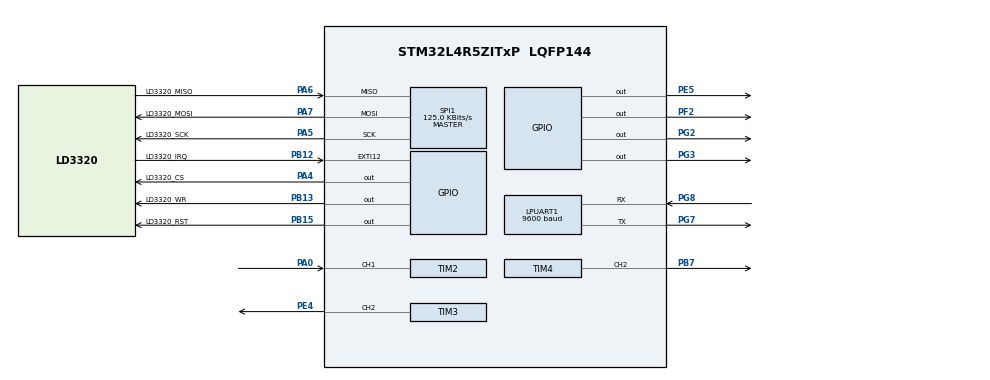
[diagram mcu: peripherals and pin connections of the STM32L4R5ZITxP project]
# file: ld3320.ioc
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LPUART1.BaudRate=9600
LPUART1.WordLength=UART_WORDLENGTH_8B
Mcu.Family=STM32L4
Mcu.Name=STM32L4R5ZITxP
Mcu.Package=LQFP144
NVIC.EXTI15_10_IRQn=true\:3\:0\:true\:false\:true\:true\:true\:true
NVIC.PriorityGroup=NVIC_PRIORITYGROUP_4
NVIC.TIM2_IRQn=true\:0\:0\:false\:false\:true\:true\:true\:true
PA0.Signal=S_TIM2_CH1
PA1.Signal=ADCx_IN6
PA10.Signal=USB_OTG_FS_ID
PA13\ (JTMS/SWDIO).Signal=SYS_JTMS-SWDIO
PA14\ (JTCK/SWCLK).Signal=SYS_JTCK-SWCLK
PA2.Signal=S_TIM5_CH3
PA3.Signal=ADCx_IN8
PA4.GPIO_Label=LD3320_CS
PA4.GPIO_Speed=GPIO_SPEED_FREQ_HIGH
PA4.PinState=GPIO_PIN_SET
PA4.Signal=GPIO_Output
PA5.GPIO_Label=LD3320_SCK
PA5.Mode=Full_Duplex_Master
PA5.Signal=SPI1_SCK
PA6.GPIO_Label=LD3320_MISO
PA6.Mode=Full_Duplex_Master
PA6.Signal=SPI1_MISO
PA7.GPIO_Label=LD3320_MOSI
PA7.Mode=Full_Duplex_Master
PA7.Signal=SPI1_MOSI
PA8.Signal=USB_OTG_FS_SOF
PA9.Signal=USB_OTG_FS_VBUS
PB0.Signal=S_TIM3_CH3
PB1.Signal=ADCx_IN16
PB10.Signal=S_TIM2_CH3
PB12.GPIO_Label=LD3320_IRQ
PB12.GPIO_ModeDefaultEXTI=GPIO_MODE_IT_FALLING
PB12.Signal=GPXTI12
PB13.GPIO_Label=LD3320_WR
PB13.GPIO_Speed=GPIO_SPEED_FREQ_HIGH
PB13.PinState=GPIO_PIN_RESET
PB13.Signal=GPIO_Output
PB15.GPIO_Label=LD3320_RST
PB15.GPIO_Speed=GPIO_SPEED_FREQ_HIGH
PB15.Signal=GPIO_Output
PB2.Signal=COMP1_INP
PB3\ (JTDO/TRACESWO).Signal=SPI3_SCK
PB4\ (NJTRST).Signal=SPI3_MISO
PB5.Signal=SPI3_MOSI
PB6.Signal=COMP2_INP
PB7.Signal=S_TIM4_CH2
PB8.Signal=I2C1_SCL
PB9.Signal=I2C1_SDA
PC0.Signal=ADCx_IN1
PC1.Signal=ADCx_IN2
PC10.Signal=SDMMC1_D2
PC11.Signal=SDMMC1_D3
PC12.Signal=SDMMC1_CK
PC13.Signal=SYS_WKUP2
PC14-OSC32_IN\ (PC14).Signal=RCC_OSC32_IN
PC15-OSC32_OUT\ (PC15).Signal=RCC_OSC32_OUT
PC2.Signal=ADCx_IN3
PC3.Signal=ADCx_IN4
PC4.Signal=ADCx_IN13
PC5.Signal=ADCx_IN14
PC6.Signal=SAI2_MCLK_A
PC8.Signal=SDMMC1_D0
PC9.Signal=SDMMC1_D1
PD0.Signal=CAN1_RX
PD14.Signal=S_TIM4_CH3
PD15.Signal=S_TIM4_CH4
PD2.Signal=SDMMC1_CMD
PD3.Signal=USART2_CTS
PD4.Signal=USART2_RTS
PD5.Signal=USART2_TX
PD6.Signal=USART2_RX
PD8.Signal=USART3_TX
PD9.Signal=USART3_RX
PE0.Signal=S_TIM4_ETR
PE10.Signal=TIM1_CH2N
PE11.Signal=S_TIM1_CH2
PE12.Signal=TIM1_CH3N
PE13.Signal=S_TIM1_CH3
PE14.Signal=TIM1_BKIN2
PE15.Signal=TIM1_BKIN
PE2.Signal=SAI1_MCLK_A
PE3.Signal=SAI1_SD_B
PE4.Signal=S_TIM3_CH2
PE5.GPIO_Speed=GPIO_SPEED_FREQ_LOW
PE5.Signal=GPIO_Output
PE7.Signal=S_TIM1_ETR
PE8.Signal=TIM1_CH1N
PE9.Signal=S_TIM1_CH1
PF0.Signal=I2C2_SDA
PF1.Signal=I2C2_SCL
PF2.Signal=GPIO_Output
PF7.Signal=SAI1_MCLK_B
PF9.Signal=S_TIM5_CH4
PG2.Signal=GPIO_Output
PG3.Signal=GPIO_Output
PG7.Mode=Asynchronous
PG7.Signal=LPUART1_TX
PG8.Mode=Asynchronous
PG8.Signal=LPUART1_RX
PH0-OSC_IN\ (PH0).Signal=RCC_OSC_IN
PH1-OSC_OUT\ (PH1).Signal=RCC_OSC_OUT
ProjectManager.HeapSize=0x200
ProjectManager.StackSize=0x400
ProjectManager.TargetToolchain=STM32CubeIDE
RCC.HSE_VALUE=8000000
RCC.HSI48_VALUE=48000000
RCC.HSI_VALUE=16000000
RCC.LSE_VALUE=32768
RCC.MSI_VALUE=4000000
RCC.VCOOutputFreq_Value=32000000
SH.ADCx_IN1.0=ADC1_IN1
SH.ADCx_IN13.0=ADC1_IN13
SH.ADCx_IN14.0=ADC1_IN14
SH.ADCx_IN16.0=ADC1_IN16
SH.ADCx_IN2.0=ADC1_IN2
SH.ADCx_IN3.0=ADC1_IN3
SH.ADCx_IN4.0=ADC1_IN4
SH.ADCx_IN6.0=ADC1_IN6
SH.ADCx_IN8.0=ADC1_IN8
SH.S_TIM1_CH1.0=TIM1_CH1
SH.S_TIM1_CH2.0=TIM1_CH2
SH.S_TIM1_CH3.0=TIM1_CH3
SH.S_TIM1_ETR.0=TIM1_ETR
SH.S_TIM2_CH1.0=TIM2_CH1,Input_Capture1_from_TI1
SH.S_TIM2_CH3.0=TIM2_CH3
SH.S_TIM3_CH2.0=TIM3_CH2,PWM Generation2 CH2
SH.S_TIM3_CH3.0=TIM3_CH3
SH.S_TIM4_CH2.0=TIM4_CH2,PWM Generation2 CH2
SH.S_TIM4_CH3.0=TIM4_CH3
SH.S_TIM4_CH4.0=TIM4_CH4
SH.S_TIM4_ETR.0=TIM4_ETR
SH.S_TIM5_CH3.0=TIM5_CH3
SH.S_TIM5_CH4.0=TIM5_CH4
SPI1.BaudRatePrescaler=SPI_BAUDRATEPRESCALER_32
SPI1.CLKPolarity=SPI_POLARITY_HIGH
SPI1.CRCCalculation=SPI_CRCCALCULATION_DISABLE
SPI1.CalculateBaudRate=125.0 KBits/s
SPI1.DataSize=SPI_DATASIZE_8BIT
SPI1.Direction=SPI_DIRECTION_2LINES
SPI1.Mode=SPI_MODE_MASTER
SPI1.NSSPMode=SPI_NSS_PULSE_ENABLE
SPI1.VirtualType=VM_MASTER
TIM2.Channel-Input_Capture1_from_TI1=TIM_CHANNEL_1
TIM2.Prescaler=3
TIM3.Channel-PWM\ Generation2\ CH2=TIM_CHANNEL_2
TIM3.Period=3999
TIM3.Prescaler=39
TIM3.Pulse-PWM\ Generation2\ CH2=60
TIM4.Channel-PWM\ Generation2\ CH2=TIM_CHANNEL_2
TIM4.Period=3999
TIM4.Prescaler=39
TIM4.Pulse-PWM\ Generation2\ CH2=60
VP_TIM2_VS_ClockSourceINT.Mode=Internal
VP_TIM3_VS_ClockSourceINT.Mode=Internal
VP_TIM4_VS_ClockSourceINT.Mode=Internal
board=NUCLEO-L4R5ZI-P

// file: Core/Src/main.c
/* USER CODE BEGIN Header */
/**
  ******************************************************************************
  * @file           : main.c
  * @brief          : Main program body
  ******************************************************************************
  * @attention
  *
  * Copyright (c) 2023 STMicroelectronics.
  * All rights reserved.
  *
  * This software is licensed under terms that can be found in the LICENSE file
  * in the root directory of this software component.
  * If no LICENSE file comes with this software, it is provided AS-IS.
  *
  ******************************************************************************
  */
/* USER CODE END Header */
#include "main.h"

/* USER CODE BEGIN Includes */
#include "stdio.h"
#include "motor.h"
///用户修改
/* USER CODE END Includes */

/* USER CODE BEGIN PD */
#define TIM3_ADDR 0x40000400
#define TIM_CCR2_OFFSET 0x38

/* USER CODE END PD */

UART_HandleTypeDef hlpuart1;

SPI_HandleTypeDef hspi1;

TIM_HandleTypeDef htim2;
TIM_HandleTypeDef htim3;
TIM_HandleTypeDef htim4;

void SystemClock_Config(void);
static void MX_GPIO_Init(void);
static void MX_SPI1_Init(void);
static void MX_LPUART1_UART_Init(void);
static void MX_TIM3_Init(void);
static void MX_TIM2_Init(void);
static void MX_TIM4_Init(void);

/* USER CODE BEGIN 0 */
uint8_t tx_data[2] = {0x80, 0x00}; // write register command
uint8_t rx_data[2] = {0x00, 0x00}; // read register command
HAL_StatusTypeDef status;
//int measure = 0;
/* USER CODE END 0 */

int main(void)
{
  /* USER CODE BEGIN 1 */
	uint32_t *tim3_ccr2 = (uint32_t *)(TIM3_ADDR + TIM_CCR2_OFFSET);

  /* USER CODE END 1 */

  /* MCU Configuration--------------------------------------------------------*/

  /* Reset of all peripherals, Initializes the Flash interface and the Systick. */
  HAL_Init();

  /* Configure the system clock */
  SystemClock_Config();

  /* Initialize all configured peripherals */
  MX_GPIO_Init();
  MX_SPI1_Init();
  MX_LPUART1_UART_Init();
  MX_TIM3_Init();
  MX_TIM2_Init();
  MX_TIM4_Init();
  /* USER CODE BEGIN 2 */
  HAL_TIM_PWM_Start(&htim3, TIM_CHANNEL_2);
  HAL_TIM_PWM_Start(&htim4, TIM_CHANNEL_2);
  HAL_TIM_IC_Start_IT(&htim2, TIM_CHANNEL_1); //Starts timer 2
  HAL_GPIO_WritePin(GPIOG, GPIO_PIN_2, 0);
  HAL_GPIO_WritePin(GPIOG, GPIO_PIN_3, 0);
  HAL_GPIO_WritePin(GPIOE, GPIO_PIN_5, 0);
  HAL_GPIO_WritePin(GPIOF, GPIO_PIN_2, 0);

  /* USER CODE END 2 */

  /* Infinite loop */
  while (1)
  {

    /* USER CODE BEGIN 3 */
	  *tim3_ccr2 = 1000;
	  LD3320_main();
	  HAL_Delay(50);

  }
  /* USER CODE END 3 */
}

void SystemClock_Config(void)
{
  RCC_OscInitTypeDef RCC_OscInitStruct = {0};
  RCC_ClkInitTypeDef RCC_ClkInitStruct = {0};

  /** Configure the main internal regulator output voltage
  */
  if (HAL_PWREx_ControlVoltageScaling(PWR_REGULATOR_VOLTAGE_SCALE1) != HAL_OK)
  {
    Error_Handler();
  }

  /** Initializes the RCC Oscillators according to the specified parameters
  * in the RCC_OscInitTypeDef structure.
  */
  RCC_OscInitStruct.OscillatorType = RCC_OSCILLATORTYPE_MSI;
  RCC_OscInitStruct.MSIState = RCC_MSI_ON;
  RCC_OscInitStruct.MSICalibrationValue = 0;
  RCC_OscInitStruct.MSIClockRange = RCC_MSIRANGE_6;
  RCC_OscInitStruct.PLL.PLLState = RCC_PLL_NONE;
  if (HAL_RCC_OscConfig(&RCC_OscInitStruct) != HAL_OK)
  {
    Error_Handler();
  }

  /** Initializes the CPU, AHB and APB buses clocks
  */
  RCC_ClkInitStruct.ClockType = RCC_CLOCKTYPE_HCLK|RCC_CLOCKTYPE_SYSCLK
                              |RCC_CLOCKTYPE_PCLK1|RCC_CLOCKTYPE_PCLK2;
  RCC_ClkInitStruct.SYSCLKSource = RCC_SYSCLKSOURCE_MSI;
  RCC_ClkInitStruct.AHBCLKDivider = RCC_SYSCLK_DIV1;
  RCC_ClkInitStruct.APB1CLKDivider = RCC_HCLK_DIV1;
  RCC_ClkInitStruct.APB2CLKDivider = RCC_HCLK_DIV1;

  if (HAL_RCC_ClockConfig(&RCC_ClkInitStruct, FLASH_LATENCY_0) != HAL_OK)
  {
    Error_Handler();
  }
}

static void MX_LPUART1_UART_Init(void)
{

  hlpuart1.Instance = LPUART1;
  hlpuart1.Init.BaudRate = 9600;
  hlpuart1.Init.WordLength = UART_WORDLENGTH_8B;
  hlpuart1.Init.StopBits = UART_STOPBITS_1;
  hlpuart1.Init.Parity = UART_PARITY_NONE;
  hlpuart1.Init.Mode = UART_MODE_TX_RX;
  hlpuart1.Init.HwFlowCtl = UART_HWCONTROL_NONE;
  hlpuart1.Init.OneBitSampling = UART_ONE_BIT_SAMPLE_DISABLE;
  hlpuart1.Init.ClockPrescaler = UART_PRESCALER_DIV1;
  hlpuart1.AdvancedInit.AdvFeatureInit = UART_ADVFEATURE_NO_INIT;
  hlpuart1.FifoMode = UART_FIFOMODE_DISABLE;
  if (HAL_UART_Init(&hlpuart1) != HAL_OK)
  {
    Error_Handler();
  }
  if (HAL_UARTEx_SetTxFifoThreshold(&hlpuart1, UART_TXFIFO_THRESHOLD_1_8) != HAL_OK)
  {
    Error_Handler();
  }
  if (HAL_UARTEx_SetRxFifoThreshold(&hlpuart1, UART_RXFIFO_THRESHOLD_1_8) != HAL_OK)
  {
    Error_Handler();
  }
  if (HAL_UARTEx_DisableFifoMode(&hlpuart1) != HAL_OK)
  {
    Error_Handler();
  }

}

static void MX_SPI1_Init(void)
{

  /* SPI1 parameter configuration*/
  hspi1.Instance = SPI1;
  hspi1.Init.Mode = SPI_MODE_MASTER;
  hspi1.Init.Direction = SPI_DIRECTION_2LINES;
  hspi1.Init.DataSize = SPI_DATASIZE_8BIT;
  hspi1.Init.CLKPolarity = SPI_POLARITY_HIGH;
  hspi1.Init.CLKPhase = SPI_PHASE_1EDGE;
  hspi1.Init.NSS = SPI_NSS_SOFT;
  hspi1.Init.BaudRatePrescaler = SPI_BAUDRATEPRESCALER_32;
  hspi1.Init.FirstBit = SPI_FIRSTBIT_MSB;
  hspi1.Init.TIMode = SPI_TIMODE_DISABLE;
  hspi1.Init.CRCCalculation = SPI_CRCCALCULATION_DISABLE;
  hspi1.Init.CRCPolynomial = 7;
  hspi1.Init.CRCLength = SPI_CRC_LENGTH_DATASIZE;
  hspi1.Init.NSSPMode = SPI_NSS_PULSE_ENABLE;
  if (HAL_SPI_Init(&hspi1) != HAL_OK)
  {
    Error_Handler();
  }

}

static void MX_TIM2_Init(void)
{

  TIM_ClockConfigTypeDef sClockSourceConfig = {0};
  TIM_MasterConfigTypeDef sMasterConfig = {0};
  TIM_IC_InitTypeDef sConfigIC = {0};

  htim2.Instance = TIM2;
  htim2.Init.Prescaler = 3;
  htim2.Init.CounterMode = TIM_COUNTERMODE_UP;
  htim2.Init.Period = 4294967295;
  htim2.Init.ClockDivision = TIM_CLOCKDIVISION_DIV1;
  htim2.Init.AutoReloadPreload = TIM_AUTORELOAD_PRELOAD_DISABLE;
  if (HAL_TIM_Base_Init(&htim2) != HAL_OK)
  {
    Error_Handler();
  }
  sClockSourceConfig.ClockSource = TIM_CLOCKSOURCE_INTERNAL;
  if (HAL_TIM_ConfigClockSource(&htim2, &sClockSourceConfig) != HAL_OK)
  {
    Error_Handler();
  }
  if (HAL_TIM_IC_Init(&htim2) != HAL_OK)
  {
    Error_Handler();
  }
  sMasterConfig.MasterOutputTrigger = TIM_TRGO_RESET;
  sMasterConfig.MasterSlaveMode = TIM_MASTERSLAVEMODE_DISABLE;
  if (HAL_TIMEx_MasterConfigSynchronization(&htim2, &sMasterConfig) != HAL_OK)
  {
    Error_Handler();
  }
  sConfigIC.ICPolarity = TIM_INPUTCHANNELPOLARITY_RISING;
  sConfigIC.ICSelection = TIM_ICSELECTION_DIRECTTI;
  sConfigIC.ICPrescaler = TIM_ICPSC_DIV1;
  sConfigIC.ICFilter = 0;
  if (HAL_TIM_IC_ConfigChannel(&htim2, &sConfigIC, TIM_CHANNEL_1) != HAL_OK)
  {
    Error_Handler();
  }

}

static void MX_TIM3_Init(void)
{

  TIM_ClockConfigTypeDef sClockSourceConfig = {0};
  TIM_MasterConfigTypeDef sMasterConfig = {0};
  TIM_OC_InitTypeDef sConfigOC = {0};

  htim3.Instance = TIM3;
  htim3.Init.Prescaler = 39;
  htim3.Init.CounterMode = TIM_COUNTERMODE_UP;
  htim3.Init.Period = 3999;
  htim3.Init.ClockDivision = TIM_CLOCKDIVISION_DIV1;
  htim3.Init.AutoReloadPreload = TIM_AUTORELOAD_PRELOAD_DISABLE;
  if (HAL_TIM_Base_Init(&htim3) != HAL_OK)
  {
    Error_Handler();
  }
  sClockSourceConfig.ClockSource = TIM_CLOCKSOURCE_INTERNAL;
  if (HAL_TIM_ConfigClockSource(&htim3, &sClockSourceConfig) != HAL_OK)
  {
    Error_Handler();
  }
  if (HAL_TIM_PWM_Init(&htim3) != HAL_OK)
  {
    Error_Handler();
  }
  sMasterConfig.MasterOutputTrigger = TIM_TRGO_RESET;
  sMasterConfig.MasterSlaveMode = TIM_MASTERSLAVEMODE_DISABLE;
  if (HAL_TIMEx_MasterConfigSynchronization(&htim3, &sMasterConfig) != HAL_OK)
  {
    Error_Handler();
  }
  sConfigOC.OCMode = TIM_OCMODE_PWM1;
  sConfigOC.Pulse = 60;
  sConfigOC.OCPolarity = TIM_OCPOLARITY_HIGH;
  sConfigOC.OCFastMode = TIM_OCFAST_DISABLE;
  if (HAL_TIM_PWM_ConfigChannel(&htim3, &sConfigOC, TIM_CHANNEL_2) != HAL_OK)
  {
    Error_Handler();
  }
  HAL_TIM_MspPostInit(&htim3);

}

static void MX_TIM4_Init(void)
{

  TIM_ClockConfigTypeDef sClockSourceConfig = {0};
  TIM_MasterConfigTypeDef sMasterConfig = {0};
  TIM_OC_InitTypeDef sConfigOC = {0};

  htim4.Instance = TIM4;
  htim4.Init.Prescaler = 39;
  htim4.Init.CounterMode = TIM_COUNTERMODE_UP;
  htim4.Init.Period = 3999;
  htim4.Init.ClockDivision = TIM_CLOCKDIVISION_DIV1;
  htim4.Init.AutoReloadPreload = TIM_AUTORELOAD_PRELOAD_DISABLE;
  if (HAL_TIM_Base_Init(&htim4) != HAL_OK)
  {
    Error_Handler();
  }
  sClockSourceConfig.ClockSource = TIM_CLOCKSOURCE_INTERNAL;
  if (HAL_TIM_ConfigClockSource(&htim4, &sClockSourceConfig) != HAL_OK)
  {
    Error_Handler();
  }
  if (HAL_TIM_PWM_Init(&htim4) != HAL_OK)
  {
    Error_Handler();
  }
  sMasterConfig.MasterOutputTrigger = TIM_TRGO_RESET;
  sMasterConfig.MasterSlaveMode = TIM_MASTERSLAVEMODE_DISABLE;
  if (HAL_TIMEx_MasterConfigSynchronization(&htim4, &sMasterConfig) != HAL_OK)
  {
    Error_Handler();
  }
  sConfigOC.OCMode = TIM_OCMODE_PWM1;
  sConfigOC.Pulse = 60;
  sConfigOC.OCPolarity = TIM_OCPOLARITY_HIGH;
  sConfigOC.OCFastMode = TIM_OCFAST_DISABLE;
  if (HAL_TIM_PWM_ConfigChannel(&htim4, &sConfigOC, TIM_CHANNEL_2) != HAL_OK)
  {
    Error_Handler();
  }
  HAL_TIM_MspPostInit(&htim4);

}

static void MX_GPIO_Init(void)
{
  GPIO_InitTypeDef GPIO_InitStruct = {0};

  /* GPIO Ports Clock Enable */
  __HAL_RCC_GPIOE_CLK_ENABLE();
  __HAL_RCC_GPIOC_CLK_ENABLE();
  __HAL_RCC_GPIOF_CLK_ENABLE();
  __HAL_RCC_GPIOH_CLK_ENABLE();
  __HAL_RCC_GPIOA_CLK_ENABLE();
  __HAL_RCC_GPIOB_CLK_ENABLE();
  __HAL_RCC_GPIOD_CLK_ENABLE();
  __HAL_RCC_GPIOG_CLK_ENABLE();
  HAL_PWREx_EnableVddIO2();

  /*Configure GPIO pin Output Level */
  HAL_GPIO_WritePin(GPIOE, GPIO_PIN_5, GPIO_PIN_RESET);

  /*Configure GPIO pin Output Level */
  HAL_GPIO_WritePin(GPIOF, GPIO_PIN_2, GPIO_PIN_RESET);

  /*Configure GPIO pin Output Level */
  HAL_GPIO_WritePin(LD3320_CS_GPIO_Port, LD3320_CS_Pin, GPIO_PIN_SET);

  /*Configure GPIO pin Output Level */
  HAL_GPIO_WritePin(GPIOB, LD3320_WR_Pin|LD3320_RST_Pin, GPIO_PIN_RESET);

  /*Configure GPIO pin Output Level */
  HAL_GPIO_WritePin(GPIOG, GPIO_PIN_2|GPIO_PIN_3, GPIO_PIN_RESET);

  /*Configure GPIO pins : PE2 PE3 */
  GPIO_InitStruct.Pin = GPIO_PIN_2|GPIO_PIN_3;
  GPIO_InitStruct.Mode = GPIO_MODE_AF_PP;
  GPIO_InitStruct.Pull = GPIO_NOPULL;
  GPIO_InitStruct.Speed = GPIO_SPEED_FREQ_LOW;
  GPIO_InitStruct.Alternate = GPIO_AF13_SAI1;
  HAL_GPIO_Init(GPIOE, &GPIO_InitStruct);

  /*Configure GPIO pin : PE5 */
  GPIO_InitStruct.Pin = GPIO_PIN_5;
  GPIO_InitStruct.Mode = GPIO_MODE_OUTPUT_PP;
  GPIO_InitStruct.Pull = GPIO_NOPULL;
  GPIO_InitStruct.Speed = GPIO_SPEED_FREQ_LOW;
  HAL_GPIO_Init(GPIOE, &GPIO_InitStruct);

  /*Configure GPIO pins : PF0 PF1 */
  GPIO_InitStruct.Pin = GPIO_PIN_0|GPIO_PIN_1;
  GPIO_InitStruct.Mode = GPIO_MODE_AF_OD;
  GPIO_InitStruct.Pull = GPIO_NOPULL;
  GPIO_InitStruct.Speed = GPIO_SPEED_FREQ_VERY_HIGH;
  GPIO_InitStruct.Alternate = GPIO_AF4_I2C2;
  HAL_GPIO_Init(GPIOF, &GPIO_InitStruct);

  /*Configure GPIO pin : PF2 */
  GPIO_InitStruct.Pin = GPIO_PIN_2;
  GPIO_InitStruct.Mode = GPIO_MODE_OUTPUT_PP;
  GPIO_InitStruct.Pull = GPIO_NOPULL;
  GPIO_InitStruct.Speed = GPIO_SPEED_FREQ_LOW;
  HAL_GPIO_Init(GPIOF, &GPIO_InitStruct);

  /*Configure GPIO pin : PF7 */
  GPIO_InitStruct.Pin = GPIO_PIN_7;
  GPIO_InitStruct.Mode = GPIO_MODE_AF_PP;
  GPIO_InitStruct.Pull = GPIO_NOPULL;
  GPIO_InitStruct.Speed = GPIO_SPEED_FREQ_LOW;
  GPIO_InitStruct.Alternate = GPIO_AF13_SAI1;
  HAL_GPIO_Init(GPIOF, &GPIO_InitStruct);

  /*Configure GPIO pin : PF9 */
  GPIO_InitStruct.Pin = GPIO_PIN_9;
  GPIO_InitStruct.Mode = GPIO_MODE_AF_PP;
  GPIO_InitStruct.Pull = GPIO_NOPULL;
  GPIO_InitStruct.Speed = GPIO_SPEED_FREQ_LOW;
  GPIO_InitStruct.Alternate = GPIO_AF2_TIM5;
  HAL_GPIO_Init(GPIOF, &GPIO_InitStruct);

  /*Configure GPIO pins : PC0 PC1 PC2 PC3
                           PC4 PC5 */
  GPIO_InitStruct.Pin = GPIO_PIN_0|GPIO_PIN_1|GPIO_PIN_2|GPIO_PIN_3
                          |GPIO_PIN_4|GPIO_PIN_5;
  GPIO_InitStruct.Mode = GPIO_MODE_ANALOG_ADC_CONTROL;
  GPIO_InitStruct.Pull = GPIO_NOPULL;
  HAL_GPIO_Init(GPIOC, &GPIO_InitStruct);

  /*Configure GPIO pins : PA1 PA3 */
  GPIO_InitStruct.Pin = GPIO_PIN_1|GPIO_PIN_3;
  GPIO_InitStruct.Mode = GPIO_MODE_ANALOG_ADC_CONTROL;
  GPIO_InitStruct.Pull = GPIO_NOPULL;
  HAL_GPIO_Init(GPIOA, &GPIO_InitStruct);

  /*Configure GPIO pin : PA2 */
  GPIO_InitStruct.Pin = GPIO_PIN_2;
  GPIO_InitStruct.Mode = GPIO_MODE_AF_PP;
  GPIO_InitStruct.Pull = GPIO_NOPULL;
  GPIO_InitStruct.Speed = GPIO_SPEED_FREQ_LOW;
  GPIO_InitStruct.Alternate = GPIO_AF2_TIM5;
  HAL_GPIO_Init(GPIOA, &GPIO_InitStruct);

  /*Configure GPIO pin : LD3320_CS_Pin */
  GPIO_InitStruct.Pin = LD3320_CS_Pin;
  GPIO_InitStruct.Mode = GPIO_MODE_OUTPUT_PP;
  GPIO_InitStruct.Pull = GPIO_NOPULL;
  GPIO_InitStruct.Speed = GPIO_SPEED_FREQ_HIGH;
  HAL_GPIO_Init(LD3320_CS_GPIO_Port, &GPIO_InitStruct);

  /*Configure GPIO pin : PB1 */
  GPIO_InitStruct.Pin = GPIO_PIN_1;
  GPIO_InitStruct.Mode = GPIO_MODE_ANALOG_ADC_CONTROL;
  GPIO_InitStruct.Pull = GPIO_NOPULL;
  HAL_GPIO_Init(GPIOB, &GPIO_InitStruct);

  /*Configure GPIO pins : PB2 PB6 */
  GPIO_InitStruct.Pin = GPIO_PIN_2|GPIO_PIN_6;
  GPIO_InitStruct.Mode = GPIO_MODE_ANALOG;
  GPIO_InitStruct.Pull = GPIO_NOPULL;
  HAL_GPIO_Init(GPIOB, &GPIO_InitStruct);

  /*Configure GPIO pins : PE7 PE8 PE9 PE10
                           PE11 PE12 PE13 */
  GPIO_InitStruct.Pin = GPIO_PIN_7|GPIO_PIN_8|GPIO_PIN_9|GPIO_PIN_10
                          |GPIO_PIN_11|GPIO_PIN_12|GPIO_PIN_13;
  GPIO_InitStruct.Mode = GPIO_MODE_AF_PP;
  GPIO_InitStruct.Pull = GPIO_NOPULL;
  GPIO_InitStruct.Speed = GPIO_SPEED_FREQ_LOW;
  GPIO_InitStruct.Alternate = GPIO_AF1_TIM1;
  HAL_GPIO_Init(GPIOE, &GPIO_InitStruct);

  /*Configure GPIO pins : PE14 PE15 */
  GPIO_InitStruct.Pin = GPIO_PIN_14|GPIO_PIN_15;
  GPIO_InitStruct.Mode = GPIO_MODE_AF_PP;
  GPIO_InitStruct.Pull = GPIO_NOPULL;
  GPIO_InitStruct.Speed = GPIO_SPEED_FREQ_LOW;
  GPIO_InitStruct.Alternate = GPIO_AF3_TIM1_COMP1;
  HAL_GPIO_Init(GPIOE, &GPIO_InitStruct);

  /*Configure GPIO pin : LD3320_IRQ_Pin */
  GPIO_InitStruct.Pin = LD3320_IRQ_Pin;
  GPIO_InitStruct.Mode = GPIO_MODE_IT_FALLING;
  GPIO_InitStruct.Pull = GPIO_NOPULL;
  HAL_GPIO_Init(LD3320_IRQ_GPIO_Port, &GPIO_InitStruct);

  /*Configure GPIO pins : LD3320_WR_Pin LD3320_RST_Pin */
  GPIO_InitStruct.Pin = LD3320_WR_Pin|LD3320_RST_Pin;
  GPIO_InitStruct.Mode = GPIO_MODE_OUTPUT_PP;
  GPIO_InitStruct.Pull = GPIO_NOPULL;
  GPIO_InitStruct.Speed = GPIO_SPEED_FREQ_HIGH;
  HAL_GPIO_Init(GPIOB, &GPIO_InitStruct);

  /*Configure GPIO pins : PD8 PD9 */
  GPIO_InitStruct.Pin = GPIO_PIN_8|GPIO_PIN_9;
  GPIO_InitStruct.Mode = GPIO_MODE_AF_PP;
  GPIO_InitStruct.Pull = GPIO_NOPULL;
  GPIO_InitStruct.Speed = GPIO_SPEED_FREQ_VERY_HIGH;
  GPIO_InitStruct.Alternate = GPIO_AF7_USART3;
  HAL_GPIO_Init(GPIOD, &GPIO_InitStruct);

  /*Configure GPIO pins : PG2 PG3 */
  GPIO_InitStruct.Pin = GPIO_PIN_2|GPIO_PIN_3;
  GPIO_InitStruct.Mode = GPIO_MODE_OUTPUT_PP;
  GPIO_InitStruct.Pull = GPIO_NOPULL;
  GPIO_InitStruct.Speed = GPIO_SPEED_FREQ_LOW;
  HAL_GPIO_Init(GPIOG, &GPIO_InitStruct);

  /*Configure GPIO pin : PC6 */
  GPIO_InitStruct.Pin = GPIO_PIN_6;
  GPIO_InitStruct.Mode = GPIO_MODE_AF_PP;
  GPIO_InitStruct.Pull = GPIO_NOPULL;
  GPIO_InitStruct.Speed = GPIO_SPEED_FREQ_LOW;
  GPIO_InitStruct.Alternate = GPIO_AF13_SAI2;
  HAL_GPIO_Init(GPIOC, &GPIO_InitStruct);

  /*Configure GPIO pins : PC8 PC9 PC10 PC11
                           PC12 */
  GPIO_InitStruct.Pin = GPIO_PIN_8|GPIO_PIN_9|GPIO_PIN_10|GPIO_PIN_11
                          |GPIO_PIN_12;
  GPIO_InitStruct.Mode = GPIO_MODE_AF_PP;
  GPIO_InitStruct.Pull = GPIO_NOPULL;
  GPIO_InitStruct.Speed = GPIO_SPEED_FREQ_VERY_HIGH;
  GPIO_InitStruct.Alternate = GPIO_AF12_SDMMC1;
  HAL_GPIO_Init(GPIOC, &GPIO_InitStruct);

  /*Configure GPIO pins : PA8 PA10 */
  GPIO_InitStruct.Pin = GPIO_PIN_8|GPIO_PIN_10;
  GPIO_InitStruct.Mode = GPIO_MODE_AF_PP;
  GPIO_InitStruct.Pull = GPIO_NOPULL;
  GPIO_InitStruct.Speed = GPIO_SPEED_FREQ_VERY_HIGH;
  GPIO_InitStruct.Alternate = GPIO_AF10_OTG_FS;
  HAL_GPIO_Init(GPIOA, &GPIO_InitStruct);

  /*Configure GPIO pin : PA9 */
  GPIO_InitStruct.Pin = GPIO_PIN_9;
  GPIO_InitStruct.Mode = GPIO_MODE_INPUT;
  GPIO_InitStruct.Pull = GPIO_NOPULL;
  HAL_GPIO_Init(GPIOA, &GPIO_InitStruct);

  /*Configure GPIO pin : PD0 */
  GPIO_InitStruct.Pin = GPIO_PIN_0;
  GPIO_InitStruct.Mode = GPIO_MODE_AF_PP;
  GPIO_InitStruct.Pull = GPIO_NOPULL;
  GPIO_InitStruct.Speed = GPIO_SPEED_FREQ_VERY_HIGH;
  GPIO_InitStruct.Alternate = GPIO_AF9_CAN1;
  HAL_GPIO_Init(GPIOD, &GPIO_InitStruct);

  /*Configure GPIO pin : PD2 */
  GPIO_InitStruct.Pin = GPIO_PIN_2;
  GPIO_InitStruct.Mode = GPIO_MODE_AF_PP;
  GPIO_InitStruct.Pull = GPIO_NOPULL;
  GPIO_InitStruct.Speed = GPIO_SPEED_FREQ_VERY_HIGH;
  GPIO_InitStruct.Alternate = GPIO_AF12_SDMMC1;
  HAL_GPIO_Init(GPIOD, &GPIO_InitStruct);

  /*Configure GPIO pins : PD3 PD4 PD5 PD6 */
  GPIO_InitStruct.Pin = GPIO_PIN_3|GPIO_PIN_4|GPIO_PIN_5|GPIO_PIN_6;
  GPIO_InitStruct.Mode = GPIO_MODE_AF_PP;
  GPIO_InitStruct.Pull = GPIO_NOPULL;
  GPIO_InitStruct.Speed = GPIO_SPEED_FREQ_VERY_HIGH;
  GPIO_InitStruct.Alternate = GPIO_AF7_USART2;
  HAL_GPIO_Init(GPIOD, &GPIO_InitStruct);

  /*Configure GPIO pins : PB3 PB4 PB5 */
  GPIO_InitStruct.Pin = GPIO_PIN_3|GPIO_PIN_4|GPIO_PIN_5;
  GPIO_InitStruct.Mode = GPIO_MODE_AF_PP;
  GPIO_InitStruct.Pull = GPIO_NOPULL;
  GPIO_InitStruct.Speed = GPIO_SPEED_FREQ_VERY_HIGH;
  GPIO_InitStruct.Alternate = GPIO_AF6_SPI3;
  HAL_GPIO_Init(GPIOB, &GPIO_InitStruct);

  /*Configure GPIO pins : PB8 PB9 */
  GPIO_InitStruct.Pin = GPIO_PIN_8|GPIO_PIN_9;
  GPIO_InitStruct.Mode = GPIO_MODE_AF_OD;
  GPIO_InitStruct.Pull = GPIO_NOPULL;
  GPIO_InitStruct.Speed = GPIO_SPEED_FREQ_VERY_HIGH;
  GPIO_InitStruct.Alternate = GPIO_AF4_I2C1;
  HAL_GPIO_Init(GPIOB, &GPIO_InitStruct);

  /* EXTI interrupt init*/
  HAL_NVIC_SetPriority(EXTI15_10_IRQn, 3, 0);
  HAL_NVIC_EnableIRQ(EXTI15_10_IRQn);

}

/* USER CODE BEGIN 4 */
#ifdef __GNUC__
#define PUTCHAR_PROTOTYPE int __io_putchar(int ch)
#else
  #define PUTCHAR_PROTOTYPE int fputc(int ch, FILE *f)
#endif /* __GNUC__ */
PUTCHAR_PROTOTYPE
{
  HAL_UART_Transmit(&hlpuart1, (uint8_t *)&ch, 1, 0xFFFF);
  return ch;
}

/* USER CODE END 4 */

void Error_Handler(void)
{
  __disable_irq();
  while (1)
  {
  }
}
